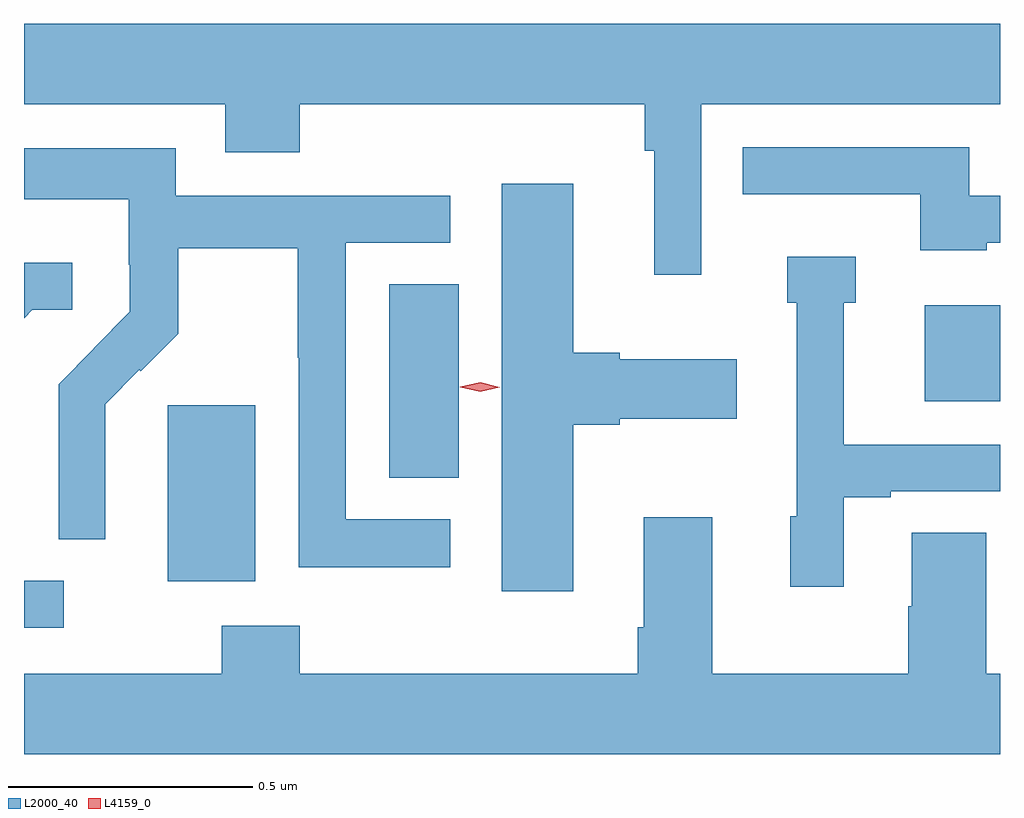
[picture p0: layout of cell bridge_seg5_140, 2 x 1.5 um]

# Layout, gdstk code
import gdstk
lib = gdstk.Library(unit=1e-6, precision=1e-09)
def R(c, l, rs):  # rectangles x0, y0, x1, y1
    for r in rs: c.add(gdstk.rectangle(r[:2], r[2:], *l))
def P(c, l, *ps):  # polygons
    for p in ps: c.add(gdstk.Polygon(p, *l))
L2000_40 = (2000, 40)
L4159_0 = (4159, 0)

bridge_seg5_140 = lib.new_cell('bridge_seg5_140')
R(bridge_seg5_140, L2000_40, [(359.077,865.011,359.158,865.107), (359.372,865.106,359.551,865.467), (359.825,865.318,359.968,865.715), (360.923,865.475,361.077,865.672)])
P(bridge_seg5_140, L2000_40, [(360.465,866.084),(361.077,866.084),(361.077,866.248),(359.077,866.248),(359.077,866.084),(359.489,866.084),(359.489,865.985),(359.642,865.985),(359.642,866.084),(360.349,866.084),(360.349,865.988),(360.368,865.988),(360.368,865.734),(360.465,865.734)],
  [(361.05,865.8),(361.077,865.8),(361.077,865.896),(361.014,865.896),(361.014,865.995),(360.55,865.995),(360.55,865.899),(360.914,865.899),(360.914,865.784),(361.05,865.784)],
  [(359.95,865.233),(359.736,865.233),(359.736,865.8),(359.95,865.8),(359.95,865.896),(359.388,865.896),(359.388,865.993),(359.077,865.993),(359.077,865.889),(359.292,865.889),(359.292,865.755),(359.294,865.755),(359.294,865.658),(359.22,865.584),(359.221,865.583),(359.148,865.51),(359.148,865.192),(359.244,865.192),(359.244,865.346),(359.243,865.346),(359.243,865.469),(359.313,865.539),(359.316,865.536),(359.393,865.613),(359.393,865.788),(359.638,865.788),(359.638,865.564),(359.64,865.564),(359.64,865.135),(359.95,865.135)],
  [(360.202,865.427),(360.298,865.427),(360.298,865.439),(360.538,865.439),(360.538,865.561),(360.298,865.561),(360.298,865.574),(360.202,865.574),(360.202,865.921),(360.056,865.921),(360.056,865.086),(360.202,865.086)],
  [(360.757,865.278),(360.853,865.278),(360.853,865.29),(361.077,865.29),(361.077,865.386),(360.757,865.386),(360.757,865.677),(360.781,865.677),(360.781,865.771),(360.641,865.771),(360.641,865.677),(360.66,865.677),(360.66,865.239),(360.647,865.239),(360.647,865.095),(360.757,865.095)],
  [(359.094,865.662),(359.176,865.662),(359.176,865.759),(359.077,865.759),(359.077,865.645)],
  [(361.077,864.916),(361.049,864.916),(361.049,865.205),(360.896,865.205),(360.896,865.055),(360.889,865.055),(360.889,864.916),(360.487,864.916),(360.487,865.237),(360.347,865.237),(360.347,865.012),(360.335,865.012),(360.335,864.916),(359.642,864.916),(359.642,865.015),(359.482,865.015),(359.482,864.916),(359.077,864.916),(359.077,864.752),(361.077,864.752)])
P(bridge_seg5_140, L4159_0, [(360.012,865.494),(359.971,865.504),(359.971,865.505),(359.971,865.505),(360.012,865.514),(360.052,865.504),(360.052,865.504),(360.052,865.504)])

lib.write_gds('bridge_seg5_140.gds')
